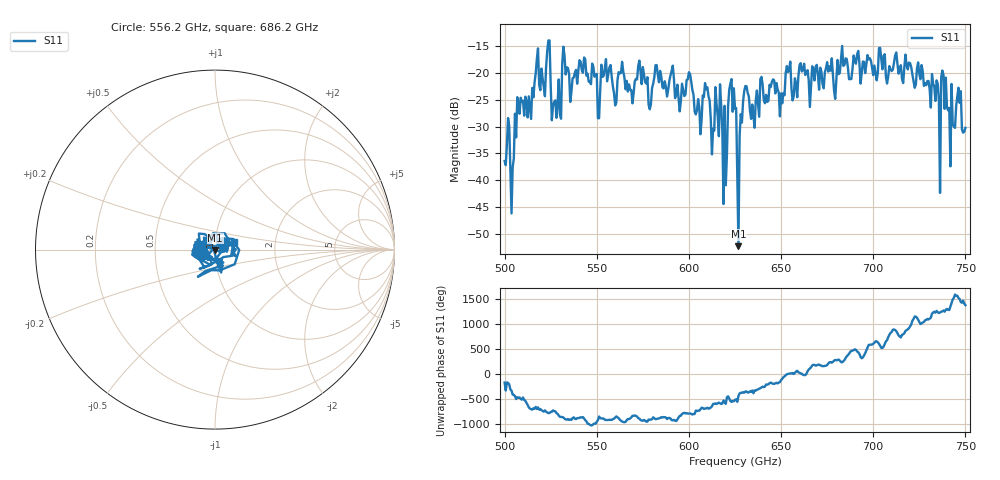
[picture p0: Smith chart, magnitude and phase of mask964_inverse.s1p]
!Created with skrf (http://scikit-rf.org).
# GHz S MA R 50.0
!freq magS11 angS11
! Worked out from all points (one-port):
!   401 points, 500 GHz to 750 GHz, reference 50 ohm
!   lowest |S11| = -52.3 dB at 626.9 GHz (marker M1), VSWR 1.00, Z = 50.1 - j0.232 ohm
!   |S11| at or under -10 dB: start of sweep to end of sweep
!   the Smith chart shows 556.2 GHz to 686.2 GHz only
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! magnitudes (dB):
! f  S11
! 500 GHz  -36.5
! 504.4 GHz  -37.6
! 508.1 GHz  -27.6
! 513.1 GHz  -24.4
! 517.5 GHz  -17.4
! 523.8 GHz  -13.9
! 526.9 GHz  -25.4
! 531.2 GHz  -18.4
! 562.5 GHz  -20.1
! 593.8 GHz  -22.2
! 605.6 GHz  -26.5
! 610 GHz  -22.7
! 612.5 GHz  -35.2
! 616.2 GHz  -31.8
! 619.4 GHz  -26.1
! 622.5 GHz  -22.0
! 625 GHz  -26.7
! 626.9 GHz  -52.3
! 630.6 GHz  -22.5
! 634.4 GHz  -25.9
! 656.2 GHz  -25.1
! 687.5 GHz  -21.1
! 718.8 GHz  -19.3
! 735 GHz  -22.0
! 738.1 GHz  -20.4
! 743.1 GHz  -29.6
! 746.2 GHz  -22.8
! 750 GHz  -30.3
